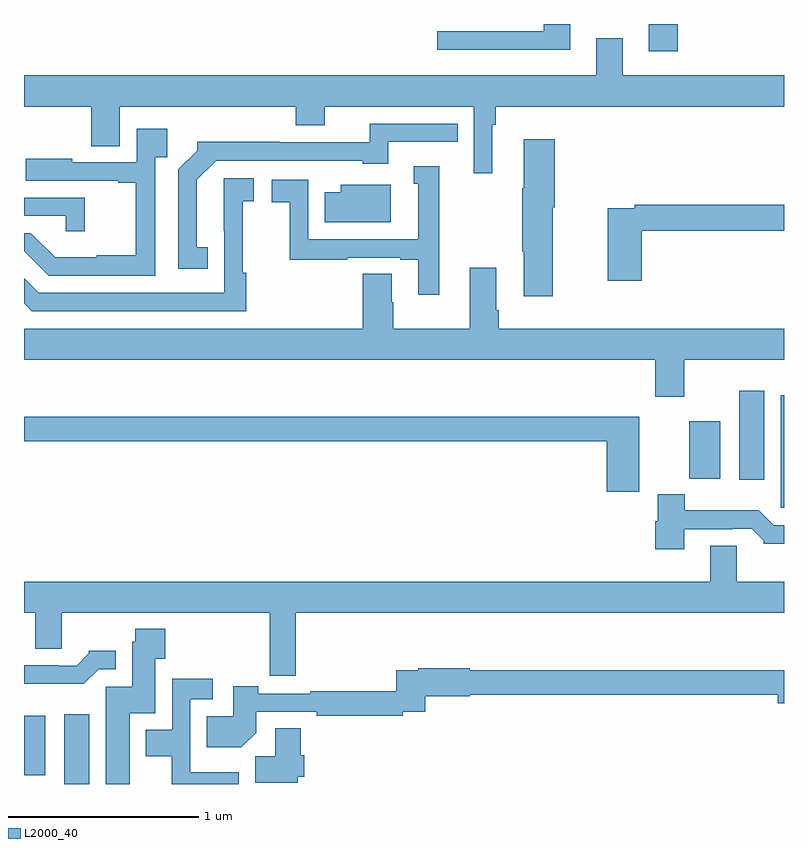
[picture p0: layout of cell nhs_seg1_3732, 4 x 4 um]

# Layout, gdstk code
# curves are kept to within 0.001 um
import gdstk
lib = gdstk.Library(unit=1e-6, precision=1e-09)
def R(c, l, rs):  # rectangles x0, y0, x1, y1
    for r in rs: c.add(gdstk.rectangle(r[:2], r[2:], *l))
def P(c, l, *ps):  # polygons
    for p in ps: c.add(gdstk.Polygon(p, *l))
L2000_40 = (2000, 40)

nhs_seg1_3732 = lib.new_cell('nhs_seg1_3732')
R(nhs_seg1_3732, L2000_40, [(315.212,516.199,315.343,516.565), (315,516.245,315.112,516.559), (318.983,517.653,319,518.245), (318.764,517.8,318.895,518.269), (318.287,520.056,318.44,520.199)])
P(nhs_seg1_3732, L2000_40, [(317.875,520.199),(317.735,520.199),(317.735,520.161),(317.175,520.161),(317.175,520.064),(317.875,520.064)],
  [(317.464,519.668),(317.483,519.668),(317.483,519.764),(319,519.764),(319,519.928),(318.151,519.928),(318.151,520.123),(318.011,520.123),(318.011,519.928),(315,519.928),(315,519.764),(315.353,519.764),(315.353,519.556),(315.505,519.556),(315.505,519.764),(316.43,519.764),(316.43,519.665),(316.582,519.665),(316.582,519.764),(317.367,519.764),(317.367,519.414),(317.464,519.414)],
  [(315.968,519.023),(315.91,519.023),(315.91,519.379),(316.011,519.48),(316.782,519.48),(316.782,519.464),(316.918,519.464),(316.918,519.579),(317.282,519.579),(317.282,519.675),(316.819,519.675),(316.819,519.576),(316.346,519.576),(316.346,519.578),(315.912,519.578),(315.912,519.533),(315.813,519.434),(315.813,518.91),(315.968,518.91)],
  [(315.69,519.497),(315.755,519.497),(315.755,519.649),(315.594,519.649),(315.594,519.471),(315.253,519.471),(315.253,519.49),(315.01,519.49),(315.01,519.375),(315.497,519.375),(315.497,519.363),(315.589,519.363),(315.589,518.983),(315.383,518.983),(315.383,518.971),(315.164,518.971),(315.036,519.099),(315,519.099),(315,519.003),(315.129,518.874),(315.69,518.874)],
  [(317.784,519.234),(317.794,519.234),(317.794,519.592),(317.63,519.592),(317.63,519.334),(317.623,519.334),(317.623,519.004),(317.63,519.004),(317.63,518.766),(317.784,518.766)],
  [(317.185,519.451),(317.051,519.451),(317.051,519.357),(317.075,519.357),(317.075,519.066),(316.497,519.066),(316.497,519.378),(316.305,519.378),(316.305,519.262),(316.399,519.262),(316.399,518.958),(316.7,518.958),(316.7,518.97),(316.979,518.97),(316.979,518.958),(317.075,518.958),(317.075,518.775),(317.185,518.775)],
  [(316.169,518.891),(316.152,518.891),(316.152,519.267),(316.21,519.267),(316.21,519.388),(316.052,519.388),(316.053,518.784),(315.078,518.784),(315,518.862),(315,518.73),(315.042,518.688),(316.169,518.688)],
  [(316.93,519.352),(316.667,519.352),(316.667,519.313),(316.582,519.313),(316.582,519.155),(316.93,519.155)],
  [(315.32,519.285),(315,519.285),(315,519.189),(315.219,519.189),(315.219,519.108),(315.32,519.108)],
  [(318.251,519.112),(319,519.112),(319,519.248),(318.214,519.248),(318.214,519.228),(318.073,519.228),(318.073,518.847),(318.251,518.847)],
  [(318.475,518.432),(319,518.432),(319,518.596),(317.498,518.596),(317.498,518.692),(317.485,518.692),(317.485,518.917),(317.345,518.917),(317.345,518.596),(316.944,518.596),(316.944,518.735),(316.936,518.735),(316.936,518.885),(316.784,518.885),(316.784,518.596),(315,518.596),(315,518.432),(318.323,518.432),(318.323,518.238),(318.475,518.238)],
  [(318.238,518.131),(315,518.131),(315,518.002),(318.068,518.002),(318.068,517.737),(318.238,517.737)],
  [(318.664,518.107),(318.5,518.107),(318.5,517.953),(318.502,517.953),(318.502,517.805),(318.664,517.805)],
  [(318.475,517.539),(318.731,517.539),(318.731,517.542),(318.83,517.542),(318.894,517.478),(318.894,517.463),(319,517.463),(319,517.56),(318.945,517.56),(318.867,517.639),(318.478,517.639),(318.478,517.723),(318.335,517.723),(318.335,517.581),(318.323,517.581),(318.323,517.434),(318.475,517.434)],
  [(316.43,517.1),(319,517.1),(319,517.264),(318.751,517.264),(318.751,517.454),(318.611,517.454),(318.611,517.264),(315,517.264),(315,517.1),(315.059,517.1),(315.059,516.91),(315.199,516.91),(315.199,517.1),(316.294,517.1),(316.294,516.768),(316.43,516.768)],
  [(315.556,516.572),(315.691,516.572),(315.691,516.859),(315.743,516.859),(315.743,517.015),(315.586,517.015),(315.586,516.948),(315.569,516.948),(315.569,516.711),(315.431,516.711),(315.431,516.199),(315.556,516.199)],
  [(315.393,516.804),(315.484,516.804),(315.484,516.901),(315.342,516.901),(315.342,516.886),(315.278,516.822),(315.179,516.822),(315.179,516.825),(315,516.825),(315,516.726),(315.315,516.726)],
  [(316.222,516.47),(316.222,516.579),(316.54,516.579),(316.54,516.559),(316.994,516.559),(316.994,516.579),(317.111,516.579),(317.111,516.662),(317.346,516.662),(317.346,516.67),(318.968,516.67),(318.968,516.623),(319,516.623),(319,516.799),(317.346,516.799),(317.346,516.807),(317.074,516.807),(317.074,516.799),(316.958,516.799),(316.958,516.688),(316.507,516.688),(316.507,516.675),(316.234,516.675),(316.234,516.713),(316.1,516.713),(316.1,516.556),(315.961,516.556),(315.961,516.392),(316.144,516.392)],
  [(316.129,516.262),(315.876,516.262),(315.876,516.645),(315.994,516.645),(315.994,516.754),(315.78,516.754),(315.78,516.484),(315.641,516.484),(315.641,516.344),(315.778,516.344),(315.778,516.199),(316.129,516.199)],
  [(316.44,516.237),(316.475,516.237),(316.475,516.351),(316.457,516.351),(316.457,516.493),(316.322,516.493),(316.322,516.344),(316.217,516.344),(316.217,516.206),(316.44,516.206)])

lib.write_gds('nhs_seg1_3732.gds')
